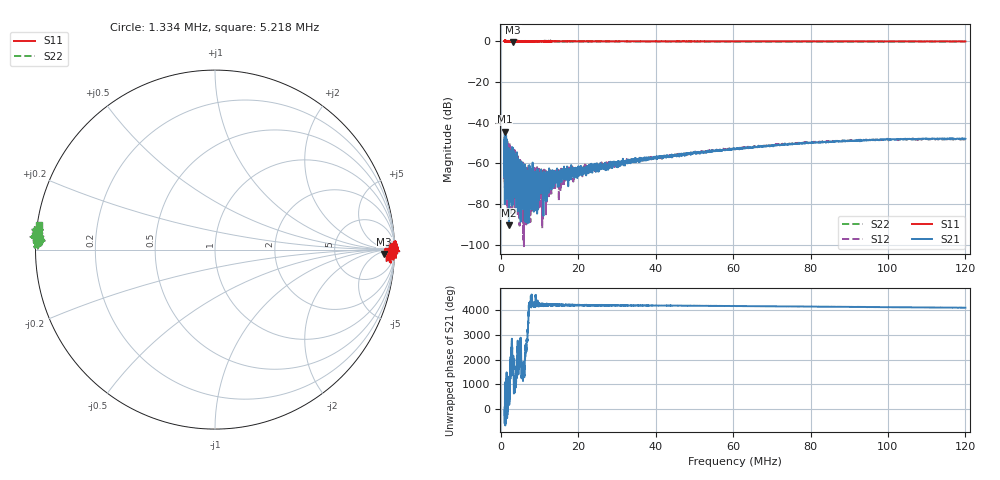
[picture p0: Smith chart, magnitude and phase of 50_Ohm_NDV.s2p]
#  HZ  S  DB  R  50.0
! Rohde & Schwarz ZVL
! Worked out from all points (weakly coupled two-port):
!   4000 points, 1 MHz to 120 MHz, reference 50 ohm
!   highest |S21| = -44.50 dB at 1.05 MHz (marker M1); lowest = -90.5 dB at 2.118 MHz (marker M2)
!   lowest |S11| = -0.5 dB at 3.248 MHz (marker M3), VSWR 34.15, Z = 1.42e+03 - j640 ohm
!   |S11| at or under -10 dB: nowhere
!   |S22| runs from -0.5 to 0.3 dB; largest |S21 - S12| = 0.007
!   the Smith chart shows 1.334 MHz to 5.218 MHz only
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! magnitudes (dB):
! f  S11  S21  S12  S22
! 1 MHz  -0.1  -49.2  -52.7  0.0
! 1.05 MHz  -0.2  -44.5  -60.6  0.0
! 1.328 MHz  -0.3  -54.8  -54.1  0.0
! 1.513 MHz  -0.1  -60.2  -55.6  -0.1
! 1.704 MHz  -0.1  -53.0  -58.8  0.0
! 1.946 MHz  -0.1  -58.3  -81.1  -0.1
! 2.118 MHz  -0.1  -90.5  -59.0  -0.1
! 2.22 MHz  -0.1  -66.0  -58.8  -0.1
! 2.345 MHz  -0.2  -59.5  -62.3  0.0
! 2.44 MHz  -0.1  -68.0  -51.8  -0.1
! 3.248 MHz  -0.5  -61.2  -59.9  -0.1
! 3.639 MHz  -0.2  -60.2  -54.5  -0.1
! 4.216 MHz  -0.2  -64.3  -63.7  -0.1
! 4.52 MHz  -0.1  -62.4  -66.9  -0.1
! 7.83 MHz  -0.1  -80.5  -70.1  -0.1
! 8.555 MHz  -0.2  -64.5  -69.7  -0.2
! 20.85 MHz  -0.2  -63.5  -63.6  -0.2
! 40.71 MHz  -0.2  -57.0  -57.1  -0.2
! 60.5 MHz  -0.2  -53.1  -53.2  -0.3
! 80.35 MHz  -0.1  -49.6  -49.6  -0.4
! 100.3 MHz  -0.2  -48.4  -48.4  -0.4
! 120 MHz  -0.2  -48.0  -48.2  -0.3
